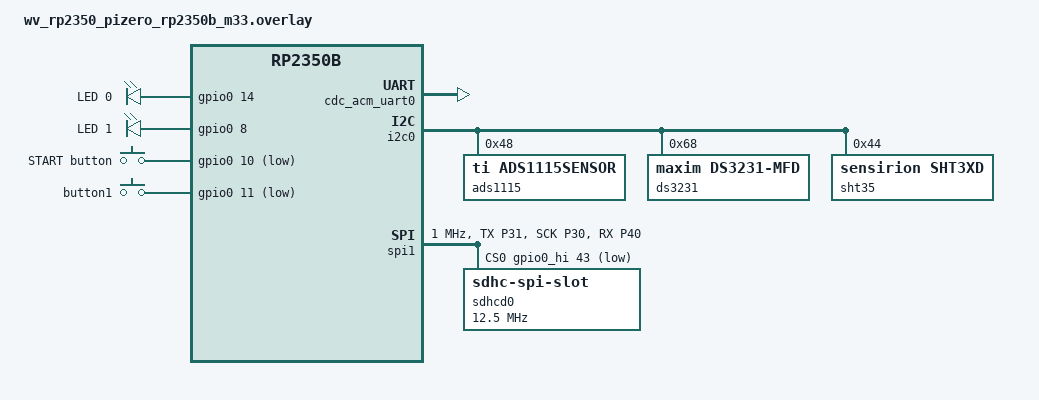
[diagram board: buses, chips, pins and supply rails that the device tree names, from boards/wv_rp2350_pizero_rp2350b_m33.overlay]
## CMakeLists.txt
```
cmake_minimum_required(VERSION 3.20.0)

list(APPEND ZEPHYR_EXTRA_MODULES
    ${CMAKE_CURRENT_SOURCE_DIR}/drivers
)


find_package(Zephyr)
project(CaloBus)


#add_subdirectory(rivers)

set (APP_SOURCES

    src/main.cpp

    src/calo_time.c
    src/filesystem.cpp
    src/health_check.cpp
    src/zbus_channels.c

    src/measure/datalogger.cpp
    src/measure/processor.cpp
    src/measure/sensor.cpp
    src/measure/toggle.cpp

    src/interface/init.c
    src/interface/leds.c

)

macro(add_source file)
    list(APPEND APP_SOURCES ${file})
endmacro()

macro(add_source_if_def config_option file)
    if(DEFINED ${config_option})
        list(APPEND APP_SOURCES ${file})
    endif()
endmacro()

# interface
add_source_if_def(CONFIG_SHELL src/interface/shell.c)
add_source_if_def(CONFIG_INPUT src/interface/input.c)

# loggers
add_source(src/measure/dataloggers/console_logger.cpp)
add_source_if_def(CONFIG_SDLOGGING src/measure/dataloggers/file_logger.cpp)

target_sources(app PRIVATE ${APP_SOURCES})

target_include_directories(app PRIVATE include)
```

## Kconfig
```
# Copyright (c) 2026 Fabien Georget
# SPDX-License-Identifier: Apache-2.0
#
menu "Zephyr"
source "Kconfig.zephyr"
endmenu

menu "Calobus"

menu "Measure"
rsource "src/Kconfig.measure"
endmenu

menu "Threads"
rsource "src/Kconfig.threads"
endmenu

config SDLOGGING
    bool "Enable SDlogging"
    default y
    help
        If true, enable SD logging

endmenu

#rsource "drivers/Kconfig"
```

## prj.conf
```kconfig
# SPDX-FileCopyrightText: Copyright Fabien Georget
# SPDX-License-Identifier: Apache-2.0
#
# specific for Calobus
# --------------------
CONFIG_HEARTBEAT_MSEC=1000
CONFIG_OVERSAMPLING=5
CONFIG_NB_WRITE_FLUSH=60

CONFIG_SDLOGGING=y

# Zephyr
# ======

CONFIG_CPP=y
CONFIG_STD_CPP23=y
CONFIG_REQUIRES_FULL_LIBCPP=y
#CONFIG_EXTERNAL_LIBC=y
#CONFIG_GLIBCXX_LIBCPP=y

# CONFIG_DEBUG=y

# kernel
# ------
CONFIG_MAIN_STACK_SIZE=8192
# for MCUMGR
CONFIG_SYSTEM_WORKQUEUE_STACK_SIZE=2304

# Hardware
# --------

CONFIG_GPIO=y
CONFIG_INPUT=y
CONFIG_POLL=y
CONFIG_RTC=y

CONFIG_SENSOR=y

CONFIG_SERIAL=y
CONFIG_CONSOLE=y
CONFIG_UART_CONSOLE=y
CONFIG_UART_LINE_CTRL=y

# Filesystem
# ----------

CONFIG_DISK_ACCESS=y
CONFIG_DISK_DRIVERS=y

CONFIG_FILE_SYSTEM=y
#CONFIG_FAT_FILESYSTEM_ELM=y
#CONFIG_FS_FATFS_MOUNT_MKFS=y
#CONFIG_FS_FATFS_EXFAT=y

CONFIG_FILE_SYSTEM_LITTLEFS=y
CONFIG_FS_LITTLEFS_BLK_DEV=y
CONFIG_FS_LITTLEFS_FMP_DEV=n
CONFIG_FS_LITTLEFS_FC_HEAP_SIZE=2048
CONFIG_FS_LITTLEFS_CACHE_SIZE=512

# ZBUS
# ----

CONFIG_ZBUS=y

# Shell
# -----

CONFIG_SHELL=y
CONFIG_FILE_SYSTEM_SHELL=y
CONFIG_RTC_SHELL=y

# MCUmgr
# ------

CONFIG_NET_BUF=y
CONFIG_ZCBOR=y
CONFIG_CRC=y
CONFIG_MCUMGR=y
CONFIG_STATS=y
CONFIG_BASE64=y
CONFIG_MCUMGR_GRP_IMG=n
CONFIG_MCUMGR_GRP_OS=y
CONFIG_MCUMGR_GRP_OS_MCUMGR_PARAMS=y
CONFIG_MCUMGR_GRP_STAT=n
CONFIG_MCUMGR_GRP_OS_TASKSTAT=n
CONFIG_MCUMGR_GRP_FS=y
CONFIG_MCUMGR_GRP_SHELL=y
CONFIG_MCUMGR_TRANSPORT_SHELL=y
CONFIG_SHELL_BACKEND_DUMMY=y
## this might or might not be a good thing....
CONFIG_MCUMGR_TRANSPORT_SHELL_MTU=2046
CONFIG_MCUMGR_TRANSPORT_NETBUF_SIZE=2048

# Log and Print
# -------------

CONFIG_LOG=y
CONFIG_LOG_DEFAULT_LEVEL=2
CONFIG_LOG_PRINTK=y
CONFIG_LOG_MODE_IMMEDIATE=y
CONFIG_LOG_RATELIMIT=n

CONFIG_PRINTK=y
CONFIG_REQUIRES_FLOAT_PRINTF=y
CONFIG_CBPRINTF_LIBC_SUBSTS=y
CONFIG_CBPRINTF_FP_SUPPORT=y
```

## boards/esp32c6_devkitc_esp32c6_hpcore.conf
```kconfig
CONFIG_SPI=y
CONFIG_DISK_DRIVER_SDMMC=y

CONFIG_STDOUT_CONSOLE=y
CONFIG_USB_DEVICE_STACK_NEXT=y

CONFIG_I2C_SHELL=y
CONFIG_SENSOR_SHELL=y
```

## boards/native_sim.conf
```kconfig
# SPDX-License-Identifier: Apache-2.0 
#
CONFIG_SERIAL=y
CONFIG_SHELL_BACKEND_SERIAL=y
#CONFIG_NATIVE_UART_1_ON_STDINOUT=y
CONFIG_SHELL_BACKEND_SERIAL_INTERRUPT_DRIVEN=n.
CONFIG_POSIX_API=y
CONFIG_FUSE_FS_ACCESS=n
```

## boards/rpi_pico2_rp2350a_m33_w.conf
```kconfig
# SPDX-FileCopyrightText: Copyright Fabien Georget
# SPDX-License-Identifier: Apache-2.0 
#

CONFIG_USE_SWITCH=y

CONFIG_SPI=y
CONFIG_DISK_DRIVER_SDMMC=y

CONFIG_STDOUT_CONSOLE=y
CONFIG_USB_DEVICE_STACK_NEXT=y
CONFIG_CDC_ACM_SERIAL_INITIALIZE_AT_BOOT=y
CONFIG_CDC_ACM_SERIAL_PID=0x0004
CONFIG_CDC_ACM_SERIAL_PRODUCT_STRING="USBD console"
```

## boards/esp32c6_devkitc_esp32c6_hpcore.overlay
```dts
/* SPDX-License-Identifier: Apache-2.0 */

#include <zephyr/dt-bindings/input/input-event-codes.h>

/ {
    /*zephyr,user {
        io-channels = <&i2c_adc 0>;
    };*/
    chosen {
        zephyr,console = &uart0;
    };
    aliases {
        rtc = &ds3231_rtc;
        ledok = &led0;
        ledbusy = &led1;
        fluxsensor = &ads1115;
        btnstart = &button0;
        boardt = &sht35;
    };
    leds {
        compatible = "gpio-leds";

        led0: led_0 {
            gpios = <&gpio0 12 GPIO_ACTIVE_HIGH>;
            label = "LED 0";
        };
        led1: led_1 {
            gpios = <&gpio0 13 GPIO_ACTIVE_HIGH>;
            label = "LED 1";
        };
    };
    buttons {
        compatible = "gpio-keys";
        status = "okay";
        debounce-interval-ms = <100>;

        button0: button_0 {
            gpios = <&gpio0 9 (GPIO_PULL_UP | GPIO_ACTIVE_LOW)>;
            zephyr,code = <INPUT_KEY_0>;
            label = "START button";
        };
    };
};


&pinctrl {
	spim2_custom: spim2_custom {
		group1 {
			pinmux = <SPIM2_MISO_GPIO21>,
				 <SPIM2_SCLK_GPIO20>,
				 <SPIM2_CSEL_GPIO18>;
		};

		group2 {
			pinmux = <SPIM2_MOSI_GPIO19>;
			output-low;
		};
	};
};

&i2c0 {
    status = "okay";

    /*i2c_adc: ads1115@48 {
        status = "okay";
        compatible = "ti,ads1115";
        reg = <0x48>;
        #io-channel-cells = <1>;
        #address-cells = <1>;
        #size-cells = <0>;
        channel@0 {
            reg = <0>;
            zephyr,gain = "ADC_GAIN_2";
            zephyr,reference = "ADC_REF_INTERNAL";
            zephyr,acquisition-time = <ADC_ACQ_TIME_DEFAULT>;
            zephyr,differential;
            zephyr,input-positive = <0>;
            zephyr,input-negative = <3>;
            zephyr,resolution = <16>;
        };
    }; */
    ads1115: ads1115@48 {
        compatible = "ti,ads1115sensor";
        reg = <0x48>;
        status = "okay";
    };

    ds3231: ds3231@68 {
        compatible = "maxim,ds3231-mfd";
        reg = <0x68>;
        status = "okay";

        ds3231_sensor: ds3231_sensor {
                compatible = "maxim,ds3231-sensor";
                status = "okay";
        };

        ds3231_rtc: ds3231_rtc {
                compatible = "maxim,ds3231-rtc";
                status = "okay";

                isw-gpios = <&gpio0 1 (GPIO_PULL_UP | GPIO_ACTIVE_LOW)>;
                //freq-32khz-gpios = <&gpio0 33 (GPIO_PULL_UP | GPIO_ACTIVE_LOW)>;
        };

    };
    sht35: sht35@44 {
        compatible = "sensirion,sht3xd";
        reg = <0x44>;
        status = "okay";
    };
};

&spi2 {
        status = "okay";
        pinctrl-0 = <&spim2_custom>;
        cs-gpios = <&gpio0 18 GPIO_ACTIVE_LOW>;

        sdhc0: sdhc@0 {
                compatible = "zephyr,sdhc-spi-slot";
                reg = <0>;
                status = "okay";
                mmc {
                    compatible = "zephyr,sdmmc-disk";
                    disk-name = "SD";
                    status = "okay";
                };
                spi-max-frequency = <24000000>;
        };
};
```

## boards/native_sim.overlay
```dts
/* SPDX-License-Identifier: Apache-2.0 */

/{
    zephyr,user {
    };
    chosen {
    };
    aliases {
        ledok = &led0;
        ledbusy = &led1;
        fluxsensor = &fluxsensor;
        boardt = &tempsensor;
    };
    leds {
        status = "okay";
        led1: led_1 {
            gpios = <&gpio0 1 GPIO_ACTIVE_HIGH>;
            label = "LED 1";
        };
    };
    fluxsensor: fluxsensor {
        compatible = "zephyr,emul-fluxsensor";
        status = "okay";
    };
    tempsensor: tempsensor {
        compatible = "zephyr,emul-tempsensor";
        status = "okay";
    };
    evdev {
        compatible = "zephyr,native-linux-evdev";
    };
};

&flashcontroller0 {
	reg = <0x00000000 DT_SIZE_K(1024)>;
};

&flash0 {
	reg = <0x00000000 DT_SIZE_K(1024)>;
	erase-block-size = <512>;

	partitions {
		compatible = "fixed-partitions";
		#address-cells = <1>;
		#size-cells = <1>;

		flashdisk_partition: partition@0 {
			label = "flashdisk";
			reg = <0x00000000 DT_SIZE_K(1024)>;
		};
	};
};

/ {
	test_disk: storage_disk {
		compatible = "zephyr,flash-disk";
		partition = <&flashdisk_partition>;
		disk-name = "SD";
		cache-size = <4096>;
	};

	ramdisk0 {
		compatible = "zephyr,ram-disk";
		disk-name = "RAM";
		sector-size = <512>;
		sector-count = <192>;
	};
};
```

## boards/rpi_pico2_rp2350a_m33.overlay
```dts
/* SPDX-License-Identifier: Apache-2.0 */

#include <zephyr/dt-bindings/input/input-event-codes.h>


/ {
    /*zephyr,user {
        io-channels = <&i2c_adc 0>;
    };*/
    chosen {
        zephyr,console = &cdc_acm_uart0;
    };
    aliases {
        rtc = &ds3231_rtc;
        ledok = &led0;
        ledbusy = &led1;
        fluxsensor = &ads1115;
        btnstart = &button0;
        boardt = &sht35;
    };
    leds {
        compatible = "gpio-leds";

        led0: led_0 {
            gpios = <&gpio0 14 GPIO_ACTIVE_HIGH>;
            label = "LED 0";
        };
        led1: led_1 {
            gpios = <&gpio0 8 GPIO_ACTIVE_HIGH>;
            label = "LED 1";
        };
    };
    buttons {
        compatible = "gpio-keys";
        status = "okay";

        button0: button_0 {
            gpios = <&gpio0 10 (GPIO_PULL_UP | GPIO_ACTIVE_LOW)>;
            zephyr,code = <INPUT_KEY_0>;
            label = "START button";
        };
        button1: button_1 {
            gpios = <&gpio0 11 (GPIO_PULL_UP | GPIO_ACTIVE_LOW)>;
            zephyr,code = <INPUT_KEY_1>;
        };
    };
};


&zephyr_udc0 {
	cdc_acm_uart0: cdc_acm_uart0 {
		compatible = "zephyr,cdc-acm-uart";
	};
};

&pinctrl {

};

&i2c0 {
    status = "okay";

    /*i2c_adc: ads1115@48 {
        status = "okay";
        compatible = "ti,ads1115";
        reg = <0x48>;
        #io-channel-cells = <1>;
        #address-cells = <1>;
        #size-cells = <0>;
        channel@0 {
            reg = <0>;
            zephyr,gain = "ADC_GAIN_2";
            zephyr,reference = "ADC_REF_INTERNAL";
            zephyr,acquisition-time = <ADC_ACQ_TIME_DEFAULT>;
            zephyr,differential;
            zephyr,input-positive = <0>;
            zephyr,input-negative = <3>;
            zephyr,resolution = <16>;
        };
    }; */
    ads1115: ads1115@48 {
        compatible = "ti,ads1115sensor";
        reg = <0x48>;
        status = "okay";
    };

    ds3231: ds3231@68 {
        compatible = "maxim,ds3231-mfd";
        reg = <0x68>;
        status = "disabled";

        ds3231_sensor: ds3231_sensor {
                compatible = "maxim,ds3231-sensor";
                status = "okay";
        };

        ds3231_rtc: ds3231_rtc {
                compatible = "maxim,ds3231-rtc";
                status = "okay";

                isw-gpios = <&gpio0 6 (GPIO_PULL_UP | GPIO_ACTIVE_LOW)>;
                //freq-32khz-gpios = <&gpio0 33 (GPIO_PULL_UP | GPIO_ACTIVE_LOW)>;
        };

    };
    sht35: sht35@44 {
        compatible = "sensirion,sht3xd";
        reg = <0x44>;
        status = "okay";
    };
};

&spi0 {
        status = "okay";
        cs-gpios = <&gpio0 17 GPIO_ACTIVE_LOW>;

        sdhc0: sdhc@0 {
                compatible = "zephyr,sdhc-spi-slot";
                reg = <0>;
                status = "okay";
                mmc {
                    compatible = "zephyr,sdmmc-disk";
                    disk-name = "SD";
                    status = "okay";
                };
                spi-max-frequency = <24000000>;
        };
};
```

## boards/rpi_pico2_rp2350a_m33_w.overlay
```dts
/* SPDX-License-Identifier: Apache-2.0 */

#include <zephyr/dt-bindings/input/input-event-codes.h>


/ {
    zephyr,user {
        //io-channels = <&i2c_adc 0>;
    };
    chosen {
        zephyr,console = &cdc_acm_uart0;
    };
    aliases {
        rtc = &ds3231_rtc;
        ledok = &led0;
        ledbusy = &led1;
        fluxsensor = &i2c_adc;
        btnstart = &button0;
        boardt = &ds3231_sensor;
        fluxsensor = &ads1115;
    };
    leds {
        compatible = "gpio-leds";

        led0: led_0 {
            gpios = <&gpio0 14 GPIO_ACTIVE_HIGH>;
            label = "LED 0";
        };
        led1: led_1 {
            gpios = <&gpio0 8 GPIO_ACTIVE_HIGH>;
            label = "LED 1";
        };
    };
    buttons {
        compatible = "gpio-keys";
        status = "okay";

        button0: button_0 {
            gpios = <&gpio0 10 (GPIO_PULL_UP | GPIO_ACTIVE_LOW)>;
            zephyr,code = <INPUT_KEY_0>;
            label = "START button";
        };
        button1: button_1 {
            gpios = <&gpio0 11 (GPIO_PULL_UP | GPIO_ACTIVE_LOW)>;
            zephyr,code = <INPUT_KEY_1>;
        };
    };
};


&zephyr_udc0 {
	cdc_acm_uart0: cdc_acm_uart0 {
		compatible = "zephyr,cdc-acm-uart";
	};
};

&pinctrl {

};

&i2c0 {
    status = "okay";

    /*i2c_adc: ads1115@48 {
        status = "okay";
        compatible = "ti,ads1115";
        reg = <0x48>;
        #io-channel-cells = <1>;
        #address-cells = <1>;
        #size-cells = <0>;
        channel@0 {
            reg = <0>;
            zephyr,gain = "ADC_GAIN_2";
            zephyr,reference = "ADC_REF_INTERNAL";
            zephyr,acquisition-time = <ADC_ACQ_TIME_DEFAULT>;
            zephyr,differential;
            zephyr,input-positive = <0>;
            zephyr,input-negative = <3>;
            zephyr,resolution = <16>;
        };
    }; */
    ads1115: ads1115@48 {
        compatible = "ti,ads1115sensor";
        reg = <0x48>;
        status = "okay";
    };

    ds3231: ds3231@68 {
        compatible = "maxim,ds3231-mfd";
        reg = <0x68>;
        status = "okay";

        ds3231_sensor: ds3231_sensor {
                compatible = "maxim,ds3231-sensor";
                status = "okay";
        };

        ds3231_rtc: ds3231_rtc {
                compatible = "maxim,ds3231-rtc";
                status = "okay";

                isw-gpios = <&gpio0 6 (GPIO_PULL_UP | GPIO_ACTIVE_LOW)>;
                //freq-32khz-gpios = <&gpio0 33 (GPIO_PULL_UP | GPIO_ACTIVE_LOW)>;
        };

    };
    sht35: sht35@44 {
        compatible = "sensirion,sht3xd";
        reg = <0x44>;
        status = "disabled";
    };
};

&spi0 {
        status = "okay";
        cs-gpios = <&gpio0 17 GPIO_ACTIVE_LOW>;

        sdhc0: sdhc@0 {
                compatible = "zephyr,sdhc-spi-slot";
                reg = <0>;
                status = "okay";
                mmc {
                    compatible = "zephyr,sdmmc-disk";
                    disk-name = "SD";
                    status = "okay";
                };
                spi-max-frequency = <24000000>;
        };
};
```

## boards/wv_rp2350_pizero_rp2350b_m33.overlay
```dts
/* SPDX-License-Identifier: Apache-2.0 */

#include <zephyr/dt-bindings/input/input-event-codes.h>


/ {
    zephyr,user {
   //     io-channels = <&i2c_adc 0>;
    };
    chosen {
        zephyr,console = &cdc_acm_uart0;
    };
    aliases {
        rtc = &ds3231_rtc;
        ledok = &led0;
        ledbusy = &led1;
        fluxsensor = &ads1115;
        btnstart = &button0;
        boardt = &sht35;
    };
    leds {
        compatible = "gpio-leds";

        led0: led_0 {
            gpios = <&gpio0 14 GPIO_ACTIVE_HIGH>;
            label = "LED 0";
        };
        led1: led_1 {
            gpios = <&gpio0 8 GPIO_ACTIVE_HIGH>;
            label = "LED 1";
        };
    };
    buttons {
        compatible = "gpio-keys";
        status = "okay";

        button0: button_0 {
            gpios = <&gpio0 10 (GPIO_PULL_UP | GPIO_ACTIVE_LOW)>;
            zephyr,code = <INPUT_KEY_0>;
            label = "START button";
        };
        button1: button_1 {
            gpios = <&gpio0 11 (GPIO_PULL_UP | GPIO_ACTIVE_LOW)>;
            zephyr,code = <INPUT_KEY_1>;
        };
    };
};


&zephyr_udc0 {
	cdc_acm_uart0: cdc_acm_uart0 {
		compatible = "zephyr,cdc-acm-uart";
	};
};

&pinctrl {

};

&i2c0 {
    status = "okay";

    /*
    i2c_adc: ads1115@48 {
        status = "okay";
        compatible = "ti,ads1115";
        reg = <0x48>;
        #io-channel-cells = <1>;
        #address-cells = <1>;
        #size-cells = <0>;
        channel@0 {
            reg = <0>;
            zephyr,gain = "ADC_GAIN_2";
            zephyr,reference = "ADC_REF_INTERNAL";
            zephyr,acquisition-time = <ADC_ACQ_TIME_DEFAULT>;
            zephyr,differential;
            zephyr,input-positive = <0>;
            zephyr,input-negative = <3>;
            zephyr,resolution = <16>;
        };
    };
    */
    
    ads1115: ads1115@48 {
        compatible = "ti,ads1115sensor";
        reg = <0x48>;
        status = "okay";
    };
    
    ds3231: ds3231@68 {
        compatible = "maxim,ds3231-mfd";
        reg = <0x68>;
        status = "okay";

        ds3231_sensor: ds3231_sensor {
                compatible = "maxim,ds3231-sensor";
                status = "okay";
        };

        ds3231_rtc: ds3231_rtc {
                compatible = "maxim,ds3231-rtc";
                status = "okay";

                isw-gpios = <&gpio0 6 (GPIO_PULL_UP | GPIO_ACTIVE_LOW)>;
                //freq-32khz-gpios = <&gpio0 33 (GPIO_PULL_UP | GPIO_ACTIVE_LOW)>;
        };

    };
    sht35: sht35@44 {
        compatible = "sensirion,sht3xd";
        reg = <0x44>;
        status = "okay";
    };
};

&pinctrl {
    spi1_hi: spi1_hi {
        group1 {
            pinmux = <SPI1_TX_P31>;
            drive-strength = <2>;
        };

        group2 {
            pinmux = <SPI1_SCK_P30>;
            drive-strength = <12>;
        };

        group3 {
            pinmux = <SPI1_RX_P40>;
            input-enable;
            bias-disable;
        };
    };
};

&spi1 {
        status = "okay";
        clock-frequency = <DT_FREQ_M(1)>;
        cs-gpios = <&gpio0_hi 43 GPIO_ACTIVE_LOW>;
        pinctrl-0 = <&spi1_hi>;
        pinctrl-names = "default";

        sdhcd0: sdhc@0 {
            compatible = "zephyr,sdhc-spi-slot";
            spi-cpol;
            spi-cpha;
            spi-clock-mode-cpol;
            spi-clock-mode-cpha;
            spi-hold-cs;
            reg = <0>;
            status = "okay";
            spi-max-frequency = <12500000>;
            spi-cs-hold-delay-ns=<20>;
                //cd-gpios = <&gpio0 22 GPIO_ACTIVE_HIGH>;
                //power-delay-ms = <5>;
            sdmmc {
                compatible = "zephyr,sdmmc-disk";
                disk-name = "SD";
                status = "okay";
            };
        };

};
```

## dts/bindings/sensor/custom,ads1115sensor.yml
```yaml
# Copyright (c) 2026 FGeorget
# SPDX-License-Identifier: Apache-2.0

description: |
  An test to use ADS1115 in sensor API

    ads1115sensor {
        compatible = "ti,ads1115sensor";
    };

compatible: "ti,ads1115sensor"

include: [sensor-device.yaml, i2c-device.yaml]
```

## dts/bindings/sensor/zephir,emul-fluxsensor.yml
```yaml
# Copyright (c) 2026 Fabien Georget
# SPDX-License-Identifier: Apache-2.0

description: |
    An emulated fluxsensor (voltage sensor)

    fluxsensor {
        compatible = "zephyr,emul-fluxsensor";
    };

compatible: "zephyr,emul-fluxsensor"

include: [sensor-device.yaml]
```

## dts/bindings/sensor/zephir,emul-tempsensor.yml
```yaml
# Copyright (c) 2026 Fabien Georget
# SPDX-License-Identifier: Apache-2.0

description: |
    An emulated temperature sensor

    tempsensor {
        compatible = "zephyr,emul-tempsensor";
        status = "okay";
    };

compatible: "zephyr,emul-tempsensor"

include: [sensor-device.yaml]
```

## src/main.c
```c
/*
 * Copyright (c) 2026 Fabien Georget <fabien.georget@usherbrooke.ca>
 * SPDX-Licence-Identifier: Apache-2.0
 */

#include "app_info.h"
#include "interface/leds.h"
#include "measure/toggle.h"
#include "filesystem.h"

#include <stdbool.h>

#include <zephyr/kernel.h>
#include <zephyr/logging/log.h>
#include <zephyr/drivers/uart.h>

LOG_MODULE_REGISTER(main, LOG_LEVEL_INF);


//      Console
//---------------------

void console_init() {
    #if DT_NODE_HAS_COMPAT(DT_CHOSEN(zephyr_console), zephyr_cdc_acm_uart)
        const struct device *const dev = DEVICE_DT_GET(DT_CHOSEN(zephyr_console));
        uint32_t dtr = 0;

        /* Poll if the DTR flag was set */
        while (!dtr) {
            uart_line_ctrl_get(dev, UART_LINE_CTRL_DTR, &dtr);
            /* Give CPU resources to low priority threads. */
            k_sleep(K_MSEC(100));
        }
    #endif
}

//       Main
//------------------


int main() {
    console_init();
    LOG_INF("Start main");
    int ret = ledbusy_init();
    if (ret <0) {
        LOG_ERR("Error led init");
    }

    #ifdef CONFIG_SDLOGGING
    LOG_INF("Initializing SD card");
    ret = init_sd_card();
    if (ret < 0) {
        LOG_ERR("No SD card");
    }
    LOG_INF("Init SD card done");
    #endif

    struct app_info_msg* app_info = 
        (struct app_info_msg*) zbus_chan_const_msg(&app_info_chan);

    LOG_PRINTK("-----------------------------\n");
    LOG_PRINTK("%s\n", app_info->name);
    LOG_PRINTK(" firmware " APP_VERSION_STRING "\n");
    LOG_PRINTK(" hardware %d.%d\n", 
            app_info->hardware_version.major,
            app_info->hardware_version.minor);
    LOG_PRINTK("-----------------------------\n");

    set_measurement_ready();

    return 0;
}
```

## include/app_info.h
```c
/*
 * Copyright (c) 2026 Fabien Georget <fabien.georget@usherbrooke.ca>
 * SPDX-Licence-Identifier: Apache-2.0
 */

#pragma once

#include <zephyr/zbus/zbus.h>
#include <stdint.h>
#include <zephyr/app_version.h>

/* The information stored in app_info channel of zbus
 *
 *  Generic info about the firmware
 *
 */
struct app_info_msg {
    const char name[32];
    const struct {
        uint8_t major;
        uint8_t minor;
    } hardware_version;
};

ZBUS_CHAN_DECLARE(app_info_chan);
```

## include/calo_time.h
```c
// SPDX-FileCopyrightText: Copyright Fabien Georget
// SPDX-License-Identifier: Apache-2.0 
//

#pragma once
/*
 * This module provide time utilities
 *
 */

#include <time.h>

#ifdef __cplusplus
extern "C" {
#endif

    // init time - call once after reset
int init_time();

// return the wall time
int get_time(struct tm *tm);

// return the wall time as a string
int get_time_string(struct tm *tm, char *buf, int offset);

#ifdef __cplusplus
}
#endif
```

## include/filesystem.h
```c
/*
 * Copyright (c) 2026 Fabien Georget <fabien.georget@usherbrooke.ca>
 * SPDX-Licence-Identifier: Apache-2.0
 */

#pragma once

#include <time.h>

#define DISK_DRIVE_NAME "SD"
#define DISK_MOUNT_POINT "/SD:"

#ifdef __cplusplus
extern "C" {
#endif

// Initialize the filesystem according configuration
void init_filesystem();

// SD Card initialization
//
// Check if sd card is in and mount filesystem
int init_sd_card();

// SD Card de-initialization
int de_init_sd_card();

// Return a full path at the root of the SD card
void get_sd_full_path(char *path, const char* filename);

// Return a path with a timed suffix
void get_sd_timed_path(char *path,
                       const char* prefix,
                       struct tm* tm,
                       const char* suffix
                      );

#ifdef __cplusplus
}
#endif
```

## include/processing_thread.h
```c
#pragma once

#include <stdint.h>
#include <stdbool.h>
#include <zephyr/zbus/zbus.h>

struct processing_thread_msg {
    bool to_save;
    int32_t value;
    int64_t timestamp;
};

ZBUS_CHAN_DECLARE(processing_thread_chan);
```

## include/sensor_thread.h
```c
#pragma once

#include <stdint.h>
#include <stdbool.h>
#include <zephyr/drivers/sensor.h>
#include <zephyr/zbus/zbus.h>

// The zbus message containing the raw data
struct sensor_data_msg {
    struct sensor_value uv;
    bool ok;
};

ZBUS_CHAN_DECLARE(sensor_data_chan);
ZBUS_OBS_DECLARE(sensor_thread_sub);
```

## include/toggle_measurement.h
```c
/*
 * Copyright (c) 2026 Fabien Georget <fabien.georget@usherbrooke.ca>
 * SPDX-Licence-Identifier: Apache-2.0
 */

#pragma once

#include "zephyr/zbus/zbus.h"
#include <stdbool.h>
#include <zephyr/input/input.h>

/* Start a measurement
 *
 * Return true if measurement successfully started
 */
bool start_measurement();

/* Stop a measurement
 *
 * Return false if measurement successfully stopped
 */
bool end_measurement();

/* Return true if equipment is ready */
bool is_measurement_ready();
/* Call when measurement ready */
void set_measurement_ready();
/* Return true if measurement is on  */
bool is_measurement_on();

ZBUS_CHAN_DECLARE(start_measure_chan);
ZBUS_CHAN_DECLARE(start_trigger_chan);
ZBUS_CHAN_DECLARE(end_measure_chan);
```

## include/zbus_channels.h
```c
/*
 * Copyright (c) 2026 Fabien Georget <fabien.georget@usherbrooke.ca>
 * SPDX-Licence-Identifier: Apache-2.0
 */

#pragma once

#include <zephyr/zbus/zbus.h>
#include <zephyr/drivers/sensor.h>

#ifdef __cplusplus
extern "C" {
#endif

// The message type from sensor thread to processing thread
struct processing_thread_msg {
    bool to_save;
    int32_t value;
    int64_t timestamp;
};
//
// The zbus message containing the raw data
struct sensor_data_msg {
    struct sensor_value uv;
    bool ok;
};

// Zbus msg to set an attribute
struct sensor_attr_msg {
    enum sensor_attribute attr;
    struct sensor_value val;
};

ZBUS_OBS_DECLARE(sensor_thread_sub);
ZBUS_OBS_DECLARE(processing_thread_sub);
ZBUS_OBS_DECLARE(datalogger_thread_sub);

ZBUS_CHAN_DECLARE(measure_setting_chan);

ZBUS_CHAN_DECLARE(measurement_ready_chan);
ZBUS_CHAN_DECLARE(measurement_busy_chan);
ZBUS_CHAN_DECLARE(start_measure_chan);
ZBUS_CHAN_DECLARE(end_measure_chan);

ZBUS_CHAN_DECLARE(start_trigger_chan);
ZBUS_CHAN_DECLARE(sensor_data_chan);
ZBUS_CHAN_DECLARE(processing_thread_chan);
ZBUS_CHAN_DECLARE(sensor_attr_chan);
ZBUS_CHAN_DECLARE(end_onebeat_chan) ;

#ifdef __cplusplus
} // extern C
#endif
```

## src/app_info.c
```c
/*
 * Copyright (c) 2026 Fabien Georget <fabien.georget@usherbrooke.ca>
 * SPDX-Licence-Identifier: Apache-2.0
 */

#include "app_info.h"

#include <zephyr/kernel.h>
#include <zephyr/zbus/zbus.h>

ZBUS_CHAN_DEFINE(
    app_info_chan,
    struct app_info_msg,
    NULL,
    NULL,
    ZBUS_OBSERVERS_EMPTY,
    ZBUS_MSG_INIT(.name = "CaloBus",
                  .hardware_version={0, 1})
);
```

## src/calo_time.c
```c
// SPDX-FileCopyrightText: Copyright Fabien Georget
// SPDX-License-Identifier: Apache-2.0 

#include "calo_time.h"

#include <zephyr/sys/clock.h>
#include <zephyr/kernel.h>
#include <zephyr/drivers/rtc.h>
#include <zephyr/logging/log.h>
#include <zephyr/sys/timeutil.h>

LOG_MODULE_REGISTER(time, CONFIG_LOG_DEFAULT_LEVEL);

#ifdef CONFIG_RTC_EMUL
#include <native_rtc.h>
#endif

// The real time clock device
static const struct device *const rtc = DEVICE_DT_GET(DT_ALIAS(rtc));

#ifdef CONFIG_RTC_EMUL
// Initialize the emulated rtc device for native_sim
void init_time_emul()
{
        struct timespec ts ={.tv_sec=0,.tv_nsec=0};
        uint32_t nsec = 0;
        native_rtc_gettime(RTC_CLOCK_PSEUDOHOSTREALTIME, &nsec, &ts.tv_sec);
        struct rtc_time tm;
        gmtime_r(&ts.tv_sec, rtc_time_to_tm(&tm));
        rtc_set_time(rtc, &tm);
}
#endif

#ifdef CONFIG_RTC
// Initialize the sysclock by synchronisation with the external rtc
static int set_time_from_external_rtc() {
    struct rtc_time tm;
    struct timespec tp;

    int ret = rtc_get_time(rtc, &tm);
    if (ret <0) {
        LOG_ERR("Cannot get RTC time ! return code : %d", ret);
        return ret;
    }
    tp.tv_sec = timeutil_timegm(rtc_time_to_tm(&tm));
    if (tp.tv_sec == -1) {
        LOG_ERR("Cannot calculated seconds since EPOCH");
        return ret;
    }
    tp.tv_nsec = 0;

    sys_clock_settime(SYS_CLOCK_REALTIME, &tp);
    return 0;
}
#endif

int get_time(struct tm *tm)
{
    struct timespec tp;
    sys_clock_gettime(SYS_CLOCK_REALTIME, &tp);
    gmtime_r(&tp.tv_sec, tm);
    return 0;
}

int get_time_string(struct tm *tm, char *buf, int offset)
{
    snprintfcb(&buf[offset], 15,
               "%02d%02d%02d_%02d%02d%02d",
                tm->tm_year-100,
                tm->tm_mon+1,
                tm->tm_mday,
                tm->tm_hour,
                tm->tm_min,
                tm->tm_sec
               );
    return 0;
}

int init_time() 
{
    #ifdef CONFIG_RTC_EMUL
    init_time_emul();
    #endif

    #ifdef CONFIG_RTC
    set_time_from_external_rtc();
    #endif

    return 0;
}
```

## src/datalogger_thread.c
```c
/*
 * Copyright (c) 2026 Fabien Georget <fabien.georget@usherbrooke.ca>
 * SPDX-Licence-Identifier: Apache-2.0
 *
 * datalogger_thread
 * -----------------
 *
 *  The thread responsible for datalogging
 *
 *  Datalogging occurs on:
 *      On LOG_PRINTK output
 *      SD card: /SD:/m<date><time>.dat if CONFIG_SDLOGGING
 *
 * This thread is responsible for handling file creation, opening and closing
 */

#include "processing_thread.h"
#include "toggle_measurement.h"
#include "zbus_channels.h"
#include <time.h>
#include <zephyr/drivers/rtc.h>

#include <stdint.h>
#include <stdio.h>
#include <zephyr/kernel.h>
#include <zephyr/logging/log.h>

#ifdef CONFIG_RTC_EMUL
#include <native_rtc.h>
#include <time.h>
#endif


#ifdef CONFIG_SDLOGGING
#include "filesystem.h"
#include <zephyr/fs/fs.h>
#endif

LOG_MODULE_REGISTER(datalogger_thread, LOG_LEVEL_INF);

// ---- Static global variables ------------------

// File handlers
#ifdef CONFIG_SDLOGGING
    static struct fs_file_t file;
    static bool file_is_open = false;
#endif

// Time at the start of the measurement
static int64_t timestamp_0;

// The real time clock
static const struct device *const rtc = DEVICE_DT_GET(DT_ALIAS(rtc));

// ---- helper functions --------------------------


// Log one timepoint onto the sd card
static int datasdlog_one(struct processing_thread_msg* processed_data) {
    if (!file_is_open) {
        LOG_DBG("Datalogging file not open - no logging");
        return -EIO;
    }
    char buf[128];
    sprintf(buf, "%lld,%"PRId32"\n",
            processed_data->timestamp-timestamp_0,
            processed_data->value);
    return fs_write(&file, buf, strlen(buf));
}

// Log one data-point
static int datalog_one() {
    struct processing_thread_msg processed_data;
    int return_code =  zbus_chan_read(&processing_thread_chan,
                             &processed_data, K_MSEC(98));
    if (return_code != 0) {
        LOG_WRN("Could not read processed data channel. Error code: %d", return_code);
    }
    LOG_PRINTK("%lld,%d\n", processed_data.timestamp - timestamp_0, processed_data.value);

    #ifdef CONFIG_SDLOGGING
        return_code = datasdlog_one(&processed_data);
    #endif // CONFIG_SDLOGGING
    return return_code;
}

// Setup the datlogging at the start of the measurement
static int datalog_setup() {
    struct rtc_time tm;
    int ret = rtc_get_time(rtc, &tm);
    timestamp_0 = k_uptime_get();
    if (ret <0) {
        LOG_ERR("Cannot get RTC time ! return code : %d", ret);
    }
    LOG_PRINTK("#Initial timestamp: ");
    LOG_PRINTK("%02d%02d%02d_%02d%02d%02d ",
                tm.tm_year-100,
                tm.tm_mon+1,
                tm.tm_mday,
                tm.tm_hour,
                tm.tm_min,
                tm.tm_sec);
    LOG_PRINTK("%lld\n", timestamp_0);

    #ifdef CONFIG_SDLOGGING
    fs_file_t_init(&file);
    if (!file_is_open) {
        char path[128];
        get_sd_timed_path(path, "m", &tm, ".dat");

        int rc = fs_open(&file, path, FS_O_CREATE | FS_O_RDWR | FS_O_APPEND); 
        if (rc != 0) {
            LOG_ERR("Failed to open file %s", path);
        } else {
            file_is_open = true;
        }
    }
    #endif
    return 0;
}

// Clean the datalogging environment at the end of the measurement
static int datalog_end() {
    if (file_is_open) {
        fs_close(&file);
        file_is_open = false;
    }
    LOG_DBG("Datalogging end");
    return 0;
}

// ----- Thread ----------------------------------------

void datalogger_thread(void) {
    const struct zbus_channel* chan;

    #ifdef CONFIG_RTC_EMUL
        struct timespec ts ={.tv_sec=0,.tv_nsec=0};
        uint32_t nsec = 0;
        native_rtc_gettime(RTC_CLOCK_PSEUDOHOSTREALTIME, &nsec, &ts.tv_sec);
        struct rtc_time tm;
        gmtime_r(&ts.tv_sec, rtc_time_to_tm(&tm));
        rtc_set_time(rtc, &tm);
    #endif

    while(1) {
        zbus_sub_wait(&datalogger_thread_sub, &chan, K_FOREVER);

        if (&processing_thread_chan == chan){
            int rc = datalog_one();
            zbus_chan_pub(&end_onebeat_chan, &rc, K_MSEC(98));
        } else if (&start_measure_chan == chan) {
            datalog_setup();
        } else if (&end_measure_chan == chan) {
            datalog_end();
        }
    }
}

K_THREAD_DEFINE(datalogger_thread_id,
                2048,
                datalogger_thread,
                NULL, NULL, NULL,
                CONFIG_DATALOGGER_THREAD_PRIORITY, 0,
                1000);
```

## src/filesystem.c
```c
/*
 * Copyright (c) 2026 Fabien Georget <fabien.georget@usherbrooke.ca>
 * SPDX-Licence-Identifier: Apache-2.0
 */

#include "filesystem.h"
#include <string.h>
#include <zephyr/kernel.h>
#include "calo_time.h"

#include <zephyr/device.h>
#include <zephyr/storage/disk_access.h>
#include <zephyr/logging/log.h>
#include <zephyr/fs/fs.h>

LOG_MODULE_REGISTER(filesystem, LOG_LEVEL_INF);

#ifdef CONFIG_FAT_FILESYSTEM_ELM
#include <ff.h>

static FATFS fat_fs;

static struct fs_mount_t mp_sd = {
    .type = FS_FATFS,
    .fs_data = &fat_fs,
};

#define FS_RET_OK FR_OK
#endif


static const char *disk_mount_pt = DISK_MOUNT_POINT;

int init_sd_card() {
    do {
        static const char *disk_pdrv = DISK_DRIVE_NAME;
        
        int ret=-1;
        int try=0;
        while (try <5) { 
            ret = disk_access_ioctl(disk_pdrv, DISK_IOCTL_CTRL_INIT, NULL);
            if (ret == 0) {break;}
            LOG_WRN("could not access SD card - retry");
            ++try;
            k_sleep(K_MSEC(500));
        }
        if ( ret !=0 ) {
            LOG_ERR("SD card could not be initialized");
            break;
        }

        int64_t memory_size_mb;
        uint32_t block_count;
        uint32_t block_size;
        if (disk_access_ioctl(disk_pdrv,
                DISK_IOCTL_GET_SECTOR_COUNT, &block_count)) {
            LOG_INF("Unable to get sector count");
            break;
        }
        LOG_INF("Block count %u", block_count);

        if (disk_access_ioctl(disk_pdrv,
                DISK_IOCTL_GET_SECTOR_SIZE, &block_size)) {
            LOG_ERR("Unable to get sector size");
            break;
        }
        LOG_INF("Sector size %u\n", block_size);

        memory_size_mb = (uint64_t)block_count * block_size;
        LOG_INF("Memory Size(MB) %u\n", (uint32_t)(memory_size_mb >> 20));

        /*
        if (disk_access_ioctl(disk_pdrv,
                DISK_IOCTL_CTRL_DEINIT, NULL) != 0) {
            LOG_ERR("Storage deinit ERROR!");
            break;
        }*/

    } while (0);


    LOG_INF("SD card disk access initialized successfully");
    k_sleep(K_SECONDS(1));

    mp_sd.mnt_point = disk_mount_pt;

    int res = fs_mount(&mp_sd);
    if (res != FS_RET_OK) {
        LOG_ERR("Error mounting disk.\n");
        return -EIO;
    }
   return 0; 
}

int de_init_sd_card() {
    static const char *disk_pdrv = DISK_DRIVE_NAME;
    int res = fs_unmount(&mp_sd);
    if (res != FS_RET_OK) {
        LOG_ERR("Error unmounting disk");
        return -EIO;
    };
    if (disk_access_ioctl(disk_pdrv,
                          DISK_IOCTL_CTRL_DEINIT, NULL) != 0) {
        LOG_ERR("SD card can not be de-initialized");
        return -EIO;
    }
    return 0;
}

void get_sd_full_path(char *path, const char* filename) {
    // TODO check
    strncpy(path, disk_mount_pt, 128);
    int base = strlen(disk_mount_pt);
    path[base++] = '/';
    path[base] = 0;
    strcat(&path[base], filename);
    return;
}

void get_sd_timed_path(char *path,
                       const char* prefix,
                       struct tm* tm,
                       const char* suffix
                       ) {
    int lenp = strlen(prefix);
    char buf[128];
    strncpy(buf, prefix, lenp);
    get_time_string(tm, buf, lenp);

   strncpy(&buf[strlen(buf)], suffix, strlen(suffix));
   get_sd_full_path(path, buf); 
}
```

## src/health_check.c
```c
/*
 * Copyright (c) 2026 Fabien Georget <fabien.georget@usherbrooke.ca>
 * SPDX-Licence-Identifier: Apache-2.0
 */

#include <zephyr/kernel.h>

#include <zephyr/logging/log.h>
#include <zephyr/device.h>

#include <zephyr/drivers/sensor.h>

LOG_MODULE_REGISTER(health_check, CONFIG_LOG_DEFAULT_LEVEL);

static int boardt_init(const struct device* const tdev) {
    if (!device_is_ready(tdev)) {
        LOG_ERR("Board temperature sensor not ready");
        return -1;
    }
    return 0;
}

static const struct device *const tboard =
    DEVICE_DT_GET(DT_ALIAS(boardt));

void health_check_thread() {


    boardt_init(tboard);

    while (1) {
        k_sleep(K_SECONDS(CONFIG_HEALTHCHECK_BEAT_SECONDS));

        struct sensor_value temp;
        int ret = sensor_sample_fetch(tboard);
        if (ret !=0) {
            LOG_ERR("Failed reading board temperature");
        } else {
            sensor_channel_get(tboard, SENSOR_CHAN_AMBIENT_TEMP, &temp);
            LOG_PRINTK("Board temperature %.2f\n", sensor_value_to_double(&temp));
        }
    }
}

K_THREAD_DEFINE(health_check_id,
                1024,
                health_check_thread,
                NULL, NULL, NULL,
                15, 0,
                1000);
```
